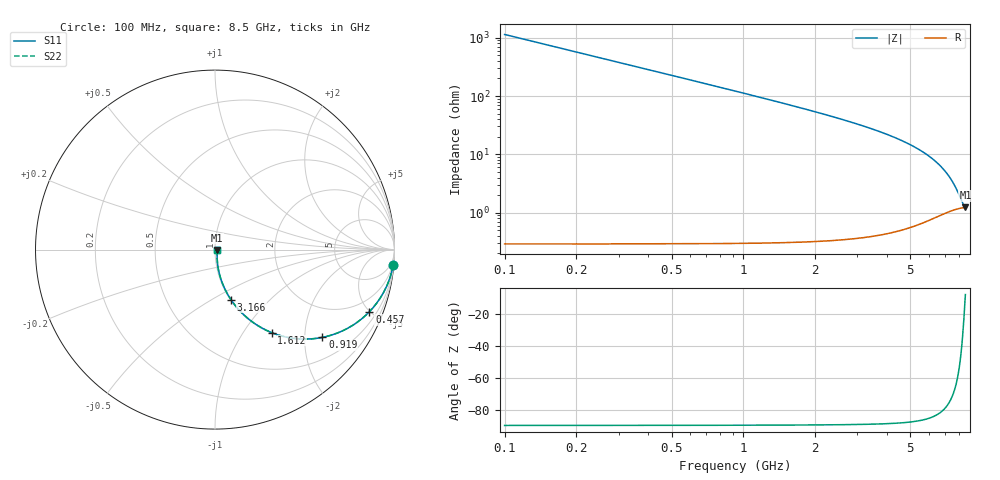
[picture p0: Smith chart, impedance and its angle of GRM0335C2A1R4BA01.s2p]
!Murata Part Number: GRM0335C2A1R4BA01
!These Parameters are Measured in Series Mode Connection
!Data Generated on Mar 30, 2021
!  o--ll--o
!Port1  Port2
!  o------o
!Operation Temp=25[degC], DC Bias Voltage=0[V]
!Freq. Start=100[MHz] Stop=9[GHz] 401[Steps]
# Hz S RI R 50
!Freq.(Hz) S11(Real) S11(Imag) S21(Real) S21(Imag) S12(Real) S12(Imag) S22(Real) S22(Imag)
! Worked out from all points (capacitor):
!   401 points, 100 MHz to 8.5 GHz, reference 50 ohm
!   read as one part in series: C = 1.4 pF near 142 MHz
!   lowest |Z| = 1.23 ohm at 8.5 GHz (marker M1)
!   S11 on the Smith chart (normalised r, x): 100 MHz: 1, -23; 457 MHz: 1.01, -4.96; 919 MHz: 1.01, -2.44; 1.612 GHz: 1.01, -1.36; 3.166 GHz: 1.01, -0.62; 8.5 GHz: 1.02, -0.00
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1e8  0.9923 -0.0873  0.0077 0.0873  0.0077 0.0873  0.9923 -0.0873
1.21e8  0.9888 -0.1053  0.0112 0.1053  0.0112 0.1053  0.9888 -0.1053
1.84e8  0.9744 -0.1578  0.0256 0.1578  0.0256 0.1578  0.9744 -0.1578
2.47e8  0.9547 -0.2076  0.0453 0.2076  0.0453 0.2076  0.9547 -0.2076
3.52e8  0.912 -0.2828  0.088 0.2828  0.088 0.2828  0.912 -0.2828
4.57e8  0.8599 -0.3465  0.1401 0.3465  0.1401 0.3465  0.8599 -0.3465
6.67e8  0.7411 -0.4372  0.2589 0.4372  0.2589 0.4372  0.7411 -0.4372
9.19e8  0.5987 -0.4889  0.4013 0.4889  0.4013 0.4889  0.5987 -0.4889
1.213e9  0.4572 -0.4965  0.5428 0.4965  0.5428 0.4965  0.4572 -0.4965
1.507e9  0.3482 -0.4743  0.6518 0.4743  0.6518 0.4743  0.3482 -0.4743
1.612e9  0.3163 -0.4628  0.6837 0.4628  0.6837 0.4628  0.3163 -0.4628
1.885e9  0.248 -0.4291  0.752 0.4291  0.752 0.4291  0.248 -0.4291
2.179e9  0.1929 -0.3912  0.8071 0.3912  0.8071 0.3912  0.1929 -0.3912
2.914e9  0.1076 -0.3047  0.8924 0.3047  0.8924 0.3047  0.1076 -0.3047
3.166e9  0.0892 -0.2791  0.9108 0.2791  0.9108 0.2791  0.0892 -0.2791
4.3e9  0.0405 -0.1855  0.9595 0.1855  0.9595 0.1855  0.0405 -0.1855
5.707e9  0.0177 -0.1038  0.9823 0.1038  0.9823 0.1038  0.0177 -0.1038
6.484e9  0.0132 -0.069  0.9868 0.069  0.9868 0.069  0.0132 -0.069
7.114e9  0.012 -0.0449  0.988 0.0449  0.988 0.0449  0.012 -0.0449
7.66e9  0.0118 -0.0264  0.9882 0.0264  0.9882 0.0264  0.0118 -0.0264
8.311e9  0.012 -0.0069  0.988 0.0069  0.988 0.0069  0.012 -0.0069
8.5e9  0.0121 -0.00162  0.9879 0.00162  0.9879 0.00162  0.0121 -0.00162
